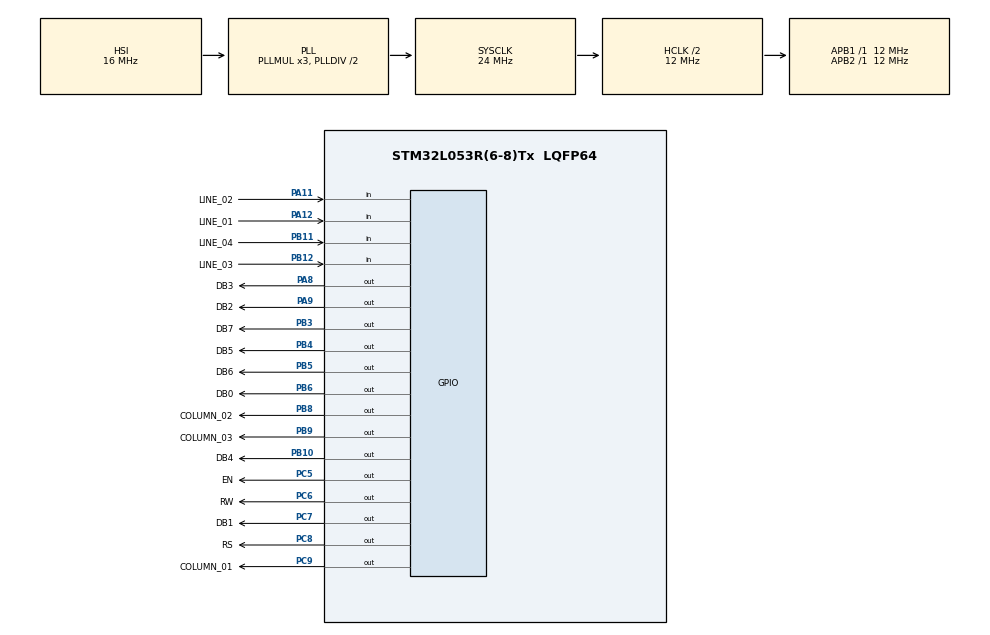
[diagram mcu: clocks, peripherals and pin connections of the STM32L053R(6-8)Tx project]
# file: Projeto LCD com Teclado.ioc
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Mcu.Family=STM32L0
Mcu.Name=STM32L053R(6-8)Tx
Mcu.Package=LQFP64
NVIC.TIM6_DAC_IRQn=true\:0\:0\:false\:false\:true\:true\:true\:true
PA11.GPIO_Label=LINE_02
PA11.GPIO_PuPd=GPIO_PULLUP
PA11.Signal=GPIO_Input
PA12.GPIO_Label=LINE_01
PA12.GPIO_PuPd=GPIO_PULLUP
PA12.Signal=GPIO_Input
PA8.GPIO_Label=DB3
PA8.GPIO_Speed=GPIO_SPEED_FREQ_VERY_HIGH
PA8.Signal=GPIO_Output
PA9.GPIO_Label=DB2
PA9.GPIO_Speed=GPIO_SPEED_FREQ_VERY_HIGH
PA9.Signal=GPIO_Output
PB10.GPIO_Label=DB4
PB10.GPIO_Speed=GPIO_SPEED_FREQ_VERY_HIGH
PB10.Signal=GPIO_Output
PB11.GPIO_Label=LINE_04
PB11.GPIO_PuPd=GPIO_PULLUP
PB11.Signal=GPIO_Input
PB12.GPIO_Label=LINE_03
PB12.GPIO_PuPd=GPIO_PULLUP
PB12.Signal=GPIO_Input
PB3.GPIO_Label=DB7
PB3.GPIO_Speed=GPIO_SPEED_FREQ_VERY_HIGH
PB3.Signal=GPIO_Output
PB4.GPIO_Label=DB5
PB4.GPIO_Speed=GPIO_SPEED_FREQ_VERY_HIGH
PB4.Signal=GPIO_Output
PB5.GPIO_Label=DB6
PB5.GPIO_Speed=GPIO_SPEED_FREQ_VERY_HIGH
PB5.Signal=GPIO_Output
PB6.GPIO_Label=DB0
PB6.GPIO_Speed=GPIO_SPEED_FREQ_VERY_HIGH
PB6.Signal=GPIO_Output
PB8.GPIO_Label=COLUMN_02
PB8.GPIO_Speed=GPIO_SPEED_FREQ_VERY_HIGH
PB8.Signal=GPIO_Output
PB9.GPIO_Label=COLUMN_03
PB9.GPIO_Speed=GPIO_SPEED_FREQ_VERY_HIGH
PB9.Signal=GPIO_Output
PC5.GPIO_Label=EN
PC5.Signal=GPIO_Output
PC6.GPIO_Label=RW
PC6.Signal=GPIO_Output
PC7.GPIO_Label=DB1
PC7.GPIO_Speed=GPIO_SPEED_FREQ_VERY_HIGH
PC7.Signal=GPIO_Output
PC8.GPIO_Label=RS
PC8.Signal=GPIO_Output
PC9.GPIO_Label=COLUMN_01
PC9.GPIO_Speed=GPIO_SPEED_FREQ_VERY_HIGH
PC9.Signal=GPIO_Output
ProjectManager.HeapSize=0x200
ProjectManager.StackSize=0x400
ProjectManager.TargetToolchain=STM32CubeIDE
RCC.AHBCLKDivider=RCC_SYSCLK_DIV2
RCC.AHBFreq_Value=12000000
RCC.APB1Freq_Value=12000000
RCC.APB1TimFreq_Value=12000000
RCC.APB2Freq_Value=12000000
RCC.APB2TimFreq_Value=12000000
RCC.HCLKFreq_Value=12000000
RCC.HSE_VALUE=8000000
RCC.HSI16_VALUE=16000000
RCC.HSI48_VALUE=48000000
RCC.HSI_VALUE=16000000
RCC.MSI_VALUE=2097000
RCC.SYSCLKFreq_VALUE=24000000
RCC.SYSCLKSource=RCC_SYSCLKSOURCE_PLLCLK
RCC.VCOOutputFreq_Value=48000000
TIM6.AutoReloadPreload=TIM_AUTORELOAD_PRELOAD_ENABLE
TIM6.Period=1
TIM6.Prescaler=12000
VP_TIM6_VS_ClockSourceINT.Mode=Enable_Timer
board=NUCLEO-L053R8

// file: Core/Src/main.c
/* USER CODE BEGIN Header */
/**
  ******************************************************************************
  * @file           : main.c
  * @brief          : Main program body
  ******************************************************************************
  * @attention
  *
  * Copyright (c) 2025 STMicroelectronics.
  * All rights reserved.
  *
  * This software is licensed under terms that can be found in the LICENSE file
  * in the root directory of this software component.
  * If no LICENSE file comes with this software, it is provided AS-IS.
  *
  ******************************************************************************
  */
/* USER CODE END Header */
#include "main.h"

/* USER CODE BEGIN PTD */

typedef struct filter{
	unsigned P0 : 1;
	unsigned P1 : 1;
	unsigned P2 : 1;
	unsigned P3 : 1;
	unsigned P4 : 1;
	unsigned P5 : 1;
	unsigned P6 : 1;
	unsigned P7 : 1;
} filter;

/* USER CODE END PTD */

/* USER CODE BEGIN PD */
#define DELAY_TIME 20
/* USER CODE END PD */

TIM_HandleTypeDef htim6;

/* USER CODE BEGIN PV */
filter port;

uint8_t atualColumn = 0, bline_1, bline_2, bline_3, bline_4;

char response = 0;
char tmap[4][3] = {
					{'1', '2', '3'},
					{'4', '5', '6'},
					{'7', '8', '9'},
					{'*', '0', '#'}
				  };

/* USER CODE END PV */

void SystemClock_Config(void);
static void MX_GPIO_Init(void);
static void MX_TIM6_Init(void);
/* USER CODE BEGIN PFP */

// Funções para o teclado
void Keyboard_check(void);
void Line_verify(uint8_t atual_column);

// Funções para o LCD
void Start_LCD(void);
void Controler_LCD(uint8_t data, uint8_t gate);
void Mensage_LCD(char *mensage);

// Configurações para o LCD

/* USER CODE END PFP */

int main(void)
{

  /* MCU Configuration--------------------------------------------------------*/

  /* Reset of all peripherals, Initializes the Flash interface and the Systick. */
  HAL_Init();

  /* Configure the system clock */
  SystemClock_Config();

  /* Initialize all configured peripherals */
  MX_GPIO_Init();
  MX_TIM6_Init();
  /* USER CODE BEGIN 2 */

  HAL_TIM_Base_Start_IT(&htim6);
  HAL_Delay(DELAY_TIME);
  Start_LCD();

  /* USER CODE END 2 */

  /* Infinite loop */
  /* USER CODE BEGIN WHILE */
  while (1) {
	  Keyboard_check();

	  Controler_LCD(0x80, 0);
	  Mensage_LCD("Digite sua senha: ");
	  Controler_LCD(0xC0, 0);
	  Mensage_LCD(&response);
    /* USER CODE END WHILE */
  }
}

void SystemClock_Config(void)
{
  RCC_OscInitTypeDef RCC_OscInitStruct = {0};
  RCC_ClkInitTypeDef RCC_ClkInitStruct = {0};

  /** Configure the main internal regulator output voltage
  */
  __HAL_PWR_VOLTAGESCALING_CONFIG(PWR_REGULATOR_VOLTAGE_SCALE1);

  /** Initializes the RCC Oscillators according to the specified parameters
  * in the RCC_OscInitTypeDef structure.
  */
  RCC_OscInitStruct.OscillatorType = RCC_OSCILLATORTYPE_HSI;
  RCC_OscInitStruct.HSIState = RCC_HSI_ON;
  RCC_OscInitStruct.HSICalibrationValue = RCC_HSICALIBRATION_DEFAULT;
  RCC_OscInitStruct.PLL.PLLState = RCC_PLL_ON;
  RCC_OscInitStruct.PLL.PLLSource = RCC_PLLSOURCE_HSI;
  RCC_OscInitStruct.PLL.PLLMUL = RCC_PLLMUL_3;
  RCC_OscInitStruct.PLL.PLLDIV = RCC_PLLDIV_2;
  if (HAL_RCC_OscConfig(&RCC_OscInitStruct) != HAL_OK)
  {
    Error_Handler();
  }

  /** Initializes the CPU, AHB and APB buses clocks
  */
  RCC_ClkInitStruct.ClockType = RCC_CLOCKTYPE_HCLK|RCC_CLOCKTYPE_SYSCLK
                              |RCC_CLOCKTYPE_PCLK1|RCC_CLOCKTYPE_PCLK2;
  RCC_ClkInitStruct.SYSCLKSource = RCC_SYSCLKSOURCE_PLLCLK;
  RCC_ClkInitStruct.AHBCLKDivider = RCC_SYSCLK_DIV2;
  RCC_ClkInitStruct.APB1CLKDivider = RCC_HCLK_DIV1;
  RCC_ClkInitStruct.APB2CLKDivider = RCC_HCLK_DIV1;

  if (HAL_RCC_ClockConfig(&RCC_ClkInitStruct, FLASH_LATENCY_0) != HAL_OK)
  {
    Error_Handler();
  }
}

static void MX_TIM6_Init(void)
{

  TIM_MasterConfigTypeDef sMasterConfig = {0};

  htim6.Instance = TIM6;
  htim6.Init.Prescaler = 12000;
  htim6.Init.CounterMode = TIM_COUNTERMODE_UP;
  htim6.Init.Period = 1;
  htim6.Init.AutoReloadPreload = TIM_AUTORELOAD_PRELOAD_ENABLE;
  if (HAL_TIM_Base_Init(&htim6) != HAL_OK)
  {
    Error_Handler();
  }
  sMasterConfig.MasterOutputTrigger = TIM_TRGO_RESET;
  sMasterConfig.MasterSlaveMode = TIM_MASTERSLAVEMODE_DISABLE;
  if (HAL_TIMEx_MasterConfigSynchronization(&htim6, &sMasterConfig) != HAL_OK)
  {
    Error_Handler();
  }

}

static void MX_GPIO_Init(void)
{
  GPIO_InitTypeDef GPIO_InitStruct = {0};

  /* GPIO Ports Clock Enable */
  __HAL_RCC_GPIOC_CLK_ENABLE();
  __HAL_RCC_GPIOB_CLK_ENABLE();
  __HAL_RCC_GPIOA_CLK_ENABLE();

  /*Configure GPIO pin Output Level */
  HAL_GPIO_WritePin(GPIOC, EN_Pin|RW_Pin|DB1_Pin|RS_Pin
                          |COLUMN_01_Pin, GPIO_PIN_RESET);

  /*Configure GPIO pin Output Level */
  HAL_GPIO_WritePin(GPIOB, DB4_Pin|DB7_Pin|DB5_Pin|DB6_Pin
                          |DB0_Pin|COLUMN_02_Pin|COLUMN_03_Pin, GPIO_PIN_RESET);

  /*Configure GPIO pin Output Level */
  HAL_GPIO_WritePin(GPIOA, DB3_Pin|DB2_Pin, GPIO_PIN_RESET);

  /*Configure GPIO pins : EN_Pin RW_Pin RS_Pin */
  GPIO_InitStruct.Pin = EN_Pin|RW_Pin|RS_Pin;
  GPIO_InitStruct.Mode = GPIO_MODE_OUTPUT_PP;
  GPIO_InitStruct.Pull = GPIO_NOPULL;
  GPIO_InitStruct.Speed = GPIO_SPEED_FREQ_LOW;
  HAL_GPIO_Init(GPIOC, &GPIO_InitStruct);

  /*Configure GPIO pins : DB4_Pin DB7_Pin DB5_Pin DB6_Pin
                           DB0_Pin COLUMN_02_Pin COLUMN_03_Pin */
  GPIO_InitStruct.Pin = DB4_Pin|DB7_Pin|DB5_Pin|DB6_Pin
                          |DB0_Pin|COLUMN_02_Pin|COLUMN_03_Pin;
  GPIO_InitStruct.Mode = GPIO_MODE_OUTPUT_PP;
  GPIO_InitStruct.Pull = GPIO_NOPULL;
  GPIO_InitStruct.Speed = GPIO_SPEED_FREQ_VERY_HIGH;
  HAL_GPIO_Init(GPIOB, &GPIO_InitStruct);

  /*Configure GPIO pins : LINE_04_Pin LINE_03_Pin */
  GPIO_InitStruct.Pin = LINE_04_Pin|LINE_03_Pin;
  GPIO_InitStruct.Mode = GPIO_MODE_INPUT;
  GPIO_InitStruct.Pull = GPIO_PULLUP;
  HAL_GPIO_Init(GPIOB, &GPIO_InitStruct);

  /*Configure GPIO pins : DB1_Pin COLUMN_01_Pin */
  GPIO_InitStruct.Pin = DB1_Pin|COLUMN_01_Pin;
  GPIO_InitStruct.Mode = GPIO_MODE_OUTPUT_PP;
  GPIO_InitStruct.Pull = GPIO_NOPULL;
  GPIO_InitStruct.Speed = GPIO_SPEED_FREQ_VERY_HIGH;
  HAL_GPIO_Init(GPIOC, &GPIO_InitStruct);

  /*Configure GPIO pins : DB3_Pin DB2_Pin */
  GPIO_InitStruct.Pin = DB3_Pin|DB2_Pin;
  GPIO_InitStruct.Mode = GPIO_MODE_OUTPUT_PP;
  GPIO_InitStruct.Pull = GPIO_NOPULL;
  GPIO_InitStruct.Speed = GPIO_SPEED_FREQ_VERY_HIGH;
  HAL_GPIO_Init(GPIOA, &GPIO_InitStruct);

  /*Configure GPIO pins : LINE_02_Pin LINE_01_Pin */
  GPIO_InitStruct.Pin = LINE_02_Pin|LINE_01_Pin;
  GPIO_InitStruct.Mode = GPIO_MODE_INPUT;
  GPIO_InitStruct.Pull = GPIO_PULLUP;
  HAL_GPIO_Init(GPIOA, &GPIO_InitStruct);

}

/* USER CODE BEGIN 4 */
void HAL_TIM_PeriodElapsedCallback(TIM_HandleTypeDef *htim){

}

// Funções para o teclado
void Keyboard_check(void){
	switch(atualColumn){
		// Configurados em PULL-UP
		case 0:
			HAL_GPIO_WritePin(COLUMN_01_GPIO_Port, COLUMN_01_Pin, 0);
			HAL_GPIO_WritePin(COLUMN_02_GPIO_Port, COLUMN_02_Pin, 1);
			HAL_GPIO_WritePin(COLUMN_03_GPIO_Port, COLUMN_03_Pin, 1);
			Line_verify(0);

			atualColumn = 1;
		case 1:
			HAL_GPIO_WritePin(COLUMN_01_GPIO_Port, COLUMN_01_Pin, 1);
			HAL_GPIO_WritePin(COLUMN_02_GPIO_Port, COLUMN_02_Pin, 0);
			HAL_GPIO_WritePin(COLUMN_03_GPIO_Port, COLUMN_03_Pin, 1);
			Line_verify(1);

			atualColumn = 2;
		case 2:
			HAL_GPIO_WritePin(COLUMN_01_GPIO_Port, COLUMN_01_Pin, 1);
			HAL_GPIO_WritePin(COLUMN_02_GPIO_Port, COLUMN_02_Pin, 1);
			HAL_GPIO_WritePin(COLUMN_03_GPIO_Port, COLUMN_03_Pin, 0);
			Line_verify(2);

			atualColumn = 0;
	}
}

void Line_verify(uint8_t atual_column){
	bline_1 = HAL_GPIO_ReadPin(LINE_01_GPIO_Port, LINE_01_Pin),
	bline_2 = HAL_GPIO_ReadPin(LINE_02_GPIO_Port, LINE_02_Pin),
	bline_3 = HAL_GPIO_ReadPin(LINE_03_GPIO_Port, LINE_03_Pin),
	bline_4 = HAL_GPIO_ReadPin(LINE_04_GPIO_Port, LINE_04_Pin);

	if (!bline_1) {
		response = tmap[atualColumn][0];
	}

	else if (!bline_2) {
		response = tmap[atualColumn][1];
	}

	else if (!bline_3) {
		response = tmap[atualColumn][2];
	}

	else if (!bline_4) {
		response = tmap[atualColumn][3];
	}
}

// Funções para o LCD
void Start_LCD(void){
	Controler_LCD(0x30, 0);
	Controler_LCD(0x30, 0);
	Controler_LCD(0x30, 0);
	Controler_LCD(0x38, 0);

//	Controler_LCD(0x0F, 0); // 0x0D
	Controler_LCD(0x0C, 0);
	Controler_LCD(0x06, 0);
	Controler_LCD(0x01, 0);
}

void Mensage_LCD(char *mensage){
	for (int i = 0; mensage[i] != '\0'; ++i){
		Controler_LCD(mensage[i], 1);
	}
}

void Controler_LCD(uint8_t data, uint8_t gate){
	port.P0 = (data >> 0) & 1;
	port.P1 = (data >> 1) & 1;
	port.P2 = (data >> 2) & 1;
	port.P3 = (data >> 3) & 1;
	port.P4 = (data >> 4) & 1;
	port.P5 = (data >> 5) & 1;
	port.P6 = (data >> 6) & 1;
	port.P7 = (data >> 7) & 1;

	if (gate){
		HAL_GPIO_WritePin(RS_GPIO_Port, RS_Pin, GPIO_PIN_SET);
	} else {
		HAL_GPIO_WritePin(RS_GPIO_Port, RS_Pin, GPIO_PIN_RESET);
	}

	HAL_GPIO_WritePin(DB0_GPIO_Port, DB0_Pin, port.P0);
	HAL_GPIO_WritePin(DB1_GPIO_Port, DB1_Pin, port.P1);
	HAL_GPIO_WritePin(DB2_GPIO_Port, DB2_Pin, port.P2);
	HAL_GPIO_WritePin(DB3_GPIO_Port, DB3_Pin, port.P3);
	HAL_GPIO_WritePin(DB4_GPIO_Port, DB4_Pin, port.P4);
	HAL_GPIO_WritePin(DB5_GPIO_Port, DB5_Pin, port.P5);
	HAL_GPIO_WritePin(DB6_GPIO_Port, DB6_Pin, port.P6);
	HAL_GPIO_WritePin(DB7_GPIO_Port, DB7_Pin, port.P7);

	HAL_Delay(1);
	HAL_GPIO_WritePin(EN_GPIO_Port, EN_Pin, GPIO_PIN_SET);
	HAL_Delay(1);
	HAL_GPIO_WritePin(EN_GPIO_Port, EN_Pin, GPIO_PIN_RESET);

}

//    ____
//   /    \  __
//   |__ _|_/__|
//   |_| |_|

/* USER CODE END 4 */

void Error_Handler(void)
{
  __disable_irq();
  while (1)
  {
  }
}
